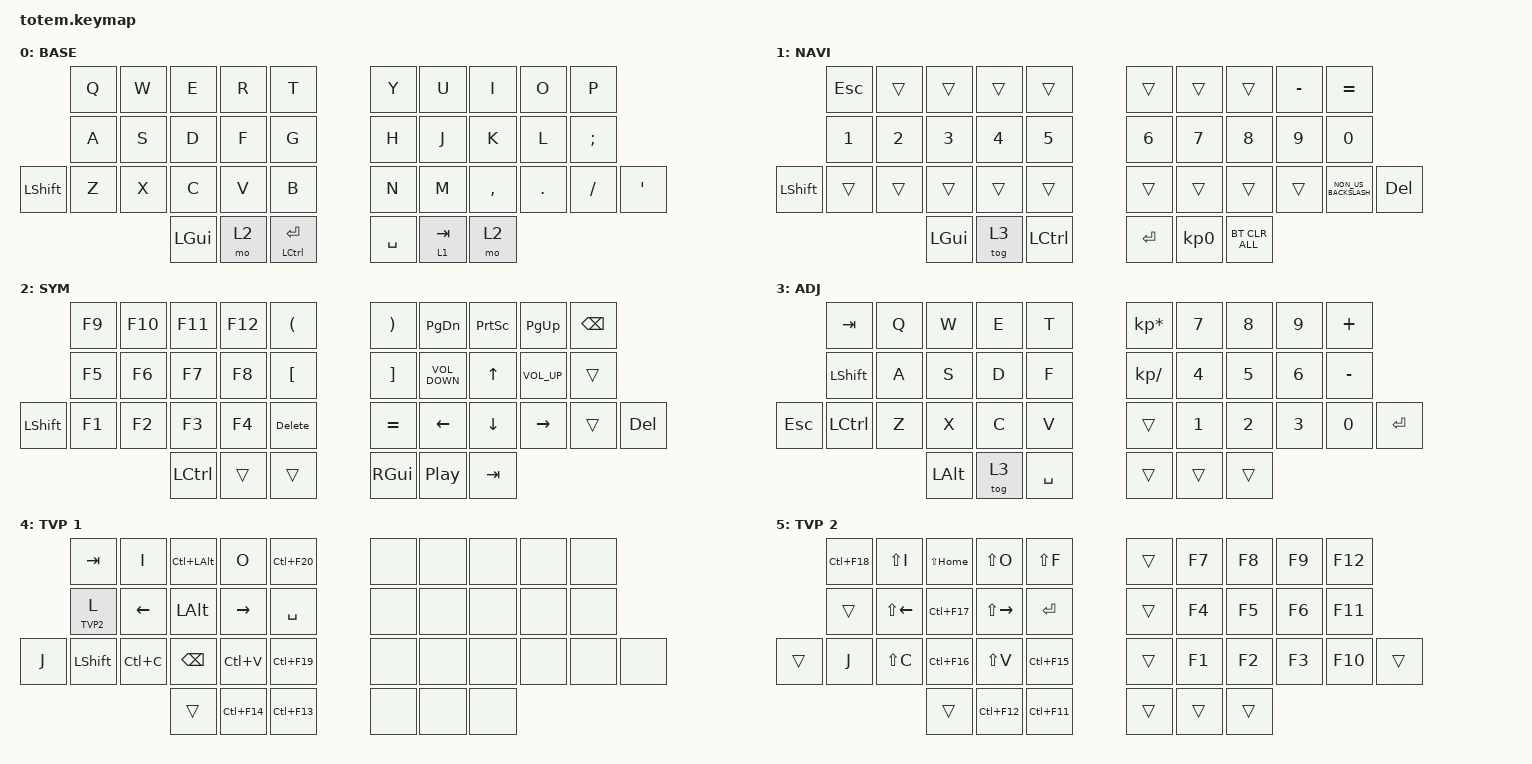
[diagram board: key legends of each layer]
//
//                                                        ▀▀▀▀▀     ▀▀▀▀▀          ▀▀█▀▀
//                                                        ▄▀▀▀▄  ▄  ▄▀▀▀▄  ▄  ▄▀▀▀▄  █  ▄▀▀▀▄
//                                                        █   █  █  █   █  █  █   █  █  █   █
//                                                         ▀▀▀   █   ▀▀▀   █   ▀▀▀   ▀   ▀▀▀
//                                                               █      ▄▄▄█▄▄▄    █   █  
//                                                               ▀      █  █  █     █▄█
//                                                             ▀▀▀▀▀    █  █  █      ▀
//                                                                      ▀  ▀  ▀
//
// ▄▄▄▄▄▄▄▄▄▄▄▄▄▄▄▄▄▄▄▄▄▄▄▄▄▄▄▄▄▄▄▄▄▄▄▄▄▄▄▄▄▄▄▄▄▄▄▄▄▄▄▄▄▄▄▄▄▄▄▄▄▄▄▄▄▄▄▄▄▄▄▄▄▄▄▄▄▄▄▄▄▄▄▄▄▄▄▄▄▄▄▄▄▄▄▄▄▄▄▄▄▄▄▄▄▄▄▄▄▄▄▄▄▄▄▄▄▄▄▄▄▄▄▄▄▄▄▄▄▄▄▄▄▄▄▄▄▄▄▄▄▄▄▄▄▄▄▄▄

#include <behaviors.dtsi>
#include <dt-bindings/zmk/bt.h>
#include <dt-bindings/zmk/keys.h>

#define BASE 0
#define NAV  1
#define SYM  2
#define ADJ  3
#define TVP1 4
#define TVP2 5

&mt {
    quick-tap-ms = <100>;
    global-quick-tap;
    flavor = "tap-preferred";
    tapping-term-ms = <170>;
};

/ {
    combos {
        compatible = "zmk,combos";

        combo_esc {
            timeout-ms = <50>;
            key-positions = <0 1>;
            bindings = <&kp ESC>;
        };

        combo_tvp {
            timeout-ms = <100>;
            key-positions = <11 12 13>;
            bindings = <&tog TVP1>;
        };
    };

    macros {
        Delete: Delete {
            compatible = "zmk,behavior-macro";
            #binding-cells = <0>;
            bindings = <&none>;
            label = "DELETE";
        };
    };

    keymap {
        compatible = "zmk,keymap";

        // ▄▄▄▄▄▄▄▄▄▄▄▄▄▄▄▄▄▄▄▄▄▄▄▄▄▄▄▄▄▄▄▄▄▄▄▄▄▄▄▄▄▄▄▄▄▄▄▄▄▄▄▄▄▄▄▄▄▄▄▄▄▄▄▄▄▄▄▄▄▄▄▄▄▄▄▄▄▄▄▄▄▄▄▄▄▄▄▄▄▄▄▄▄▄▄▄▄▄▄▄▄▄▄▄▄▄▄▄▄▄▄▄▄▄▄▄▄▄▄▄▄▄▄▄▄▄▄▄▄▄▄▄▄▄▄▄▄▄▄▄▄▄▄▄▄▄▄▄▄

        Base_Layer {
            // ┏━━━━━━━━━━━━━━━━━━━━━━━━━━━━━━━━━━━━━━━┓

            label = "BASE";

            // ┗━━━━━━━━━━━━━━━━━━━━━━━━━━━━━━━━━━━━━━━┛
            //             ┏━━━━━━━━━━━┳━━━━━━━━━━━┳━━━━━━━━━━━┳━━━━━━━━━━━┳━━━━━━━━━━━┓   ┏━━━━━━━━━━━┳━━━━━━━━━━━┳━━━━━━━━━━━┳━━━━━━━━━━━┳━━━━━━━━━━━┓
            //             ┃     Q     ┃     W     ┃     F     ┃     P     ┃     G     ┃   ┃     J     ┃     L     ┃     U     ┃     Y     ┃     ;     ┃
            //             ┣━━━━━━━━━━━╋━━━━━━━━━━━╋━━━━━━━━━━━╋━━━━━━━━━━━╋━━━━━━━━━━━┫   ┣━━━━━━━━━━━╋━━━━━━━━━━━╋━━━━━━━━━━━╋━━━━━━━━━━━╋━━━━━━━━━━━┫
            //             ┃     A     ┃     R     ┃     S     ┃     T     ┃     D     ┃   ┃     H     ┃     N     ┃     E     ┃     I     ┃     O     ┃
            // ┏━━━━━━━━━━━╋━━━━━━━━━━━╋━━━━━━━━━━━╋━━━━━━━━━━━╋━━━━━━━━━━━╋━━━━━━━━━━━┫   ┣━━━━━━━━━━━╋━━━━━━━━━━━╋━━━━━━━━━━━╋━━━━━━━━━━━╋━━━━━━━━━━━╋━━━━━━━━━━━┓
            // ┃     Q     ┃     Z     ┃     X     ┃     C     ┃     V     ┃     B     ┃   ┃     K     ┃     M     ┃     ,     ┃     .     ┃     /     ┃     \     ┃
            // ┗━━━━━━━━━━━┻━━━━━━━━━━━┻━━━━━━━━━━━╋━━━━━━━━━━━╋━━━━━━━━━━━╋━━━━━━━━━━━┫   ┣━━━━━━━━━━━╋━━━━━━━━━━━╋━━━━━━━━━━━╋━━━━━━━━━━━┻━━━━━━━━━━━┻━━━━━━━━━━━┛
            //                                     ┃    DEL    ┃    TAB    ┃    SPC    ┃   ┃   ENTER   ┃           ┃   BSPC    ┃
            //                                     ┗━━━━━━━━━━━┻━━━━━━━━━━━┻━━━━━━━━━━━┛   ┗━━━━━━━━━━━┻━━━━━━━━━━━┻━━━━━━━━━━━┛

            bindings = <
                &kp Q  &kp W  &kp E         &kp R  &kp T                     &kp Y      &kp U      &kp I      &kp O    &kp P
                &kp A  &kp S  &kp D         &kp F  &kp G                     &kp H      &kp J      &kp K      &kp L    &kp SEMICOLON
&kp LEFT_SHIFT  &kp Z  &kp X  &kp C         &kp V  &kp B                     &kp N      &kp M      &kp COMMA  &kp DOT  &kp FSLH       &kp SQT
                              &kp LEFT_GUI  &mo 2  &mt LEFT_CONTROL ENTER    &kp SPACE  &lt 1 TAB  &mo 2
            >;
        };

        // ▄▄▄▄▄▄▄▄▄▄▄▄▄▄▄▄▄▄▄▄▄▄▄▄▄▄▄▄▄▄▄▄▄▄▄▄▄▄▄▄▄▄▄▄▄▄▄▄▄▄▄▄▄▄▄▄▄▄▄▄▄▄▄▄▄▄▄▄▄▄▄▄▄▄▄▄▄▄▄▄▄▄▄▄▄▄▄▄▄▄▄▄▄▄▄▄▄▄▄▄▄▄▄▄▄▄▄▄▄▄▄▄▄▄▄▄▄▄▄▄▄▄▄▄▄▄▄▄▄▄▄▄▄▄▄▄▄▄▄▄▄▄▄▄▄▄▄▄▄

        Number_Layer {
            // ┏━━━━━━━━━━━━━━━━━━━━━━━━━━━━━━━━━━━━━━━┓

            label = "NAVI";

            // ┗━━━━━━━━━━━━━━━━━━━━━━━━━━━━━━━━━━━━━━━┛
            //             ┏━━━━━━━━━━━┳━━━━━━━━━━━┳━━━━━━━━━━━┳━━━━━━━━━━━┳━━━━━━━━━━━┓   ┏━━━━━━━━━━━┳━━━━━━━━━━━┳━━━━━━━━━━━┳━━━━━━━━━━━┳━━━━━━━━━━━┓
            //             ┃           ┃           ┃     UP    ┃           ┃     {     ┃   ┃     }     ┃     7     ┃     8     ┃     9     ┃     +     ┃
            //             ┣━━━━━━━━━━━╋━━━━━━━━━━━╋━━━━━━━━━━━╋━━━━━━━━━━━╋━━━━━━━━━━━┫   ┣━━━━━━━━━━━╋━━━━━━━━━━━╋━━━━━━━━━━━╋━━━━━━━━━━━╋━━━━━━━━━━━┫
            //             ┃   SHIFT   ┃   LEFT    ┃    DOWN   ┃   RIGHT   ┃     [     ┃   ┃     ]     ┃     4     ┃     5     ┃     6     ┃     -     ┃
            // ┏━━━━━━━━━━━╋━━━━━━━━━━━╋━━━━━━━━━━━╋━━━━━━━━━━━╋━━━━━━━━━━━╋━━━━━━━━━━━┫   ┣━━━━━━━━━━━╋━━━━━━━━━━━╋━━━━━━━━━━━╋━━━━━━━━━━━╋━━━━━━━━━━━╋━━━━━━━━━━━┓
            // ┃           ┃           ┃   P UP    ┃  C LOCK   ┃  P DOWN   ┃     (     ┃   ┃     )     ┃     1     ┃     2     ┃     3     ┃     *     ┃           ┃
            // ┗━━━━━━━━━━━┻━━━━━━━━━━━┻━━━━━━━━━━━╋━━━━━━━━━━━╋━━━━━━━━━━━╋━━━━━━━━━━━┫   ┣━━━━━━━━━━━╋━━━━━━━━━━━╋━━━━━━━━━━━╋━━━━━━━━━━━┻━━━━━━━━━━━┻━━━━━━━━━━━┛
            //                                     ┃           ┃    TAB    ┃    SPC    ┃   ┃    DEL    ┃     0     ┃           ┃
            //                                     ┗━━━━━━━━━━━┻━━━━━━━━━━━┻━━━━━━━━━━━┛   ┗━━━━━━━━━━━┻━━━━━━━━━━━┻━━━━━━━━━━━┛

            bindings = <
                &kp ESC       &trans        &trans        &trans        &trans              &trans        &trans     &trans          &kp MINUS  &kp EQUAL
                &kp NUMBER_1  &kp NUMBER_2  &kp NUMBER_3  &kp NUMBER_4  &kp N5              &kp NUMBER_6  &kp N7     &kp N8          &kp N9     &kp N0
&kp LEFT_SHIFT  &trans        &trans        &trans        &trans        &trans              &trans        &trans     &trans          &trans     &kp NON_US_BACKSLASH  &kp DEL
                                            &kp LEFT_GUI  &tog 3        &kp LEFT_CONTROL    &kp ENTER     &kp KP_N0  &bt BT_CLR_ALL
            >;
        };

        // ▄▄▄▄▄▄▄▄▄▄▄▄▄▄▄▄▄▄▄▄▄▄▄▄▄▄▄▄▄▄▄▄▄▄▄▄▄▄▄▄▄▄▄▄▄▄▄▄▄▄▄▄▄▄▄▄▄▄▄▄▄▄▄▄▄▄▄▄▄▄▄▄▄▄▄▄▄▄▄▄▄▄▄▄▄▄▄▄▄▄▄▄▄▄▄▄▄▄▄▄▄▄▄▄▄▄▄▄▄▄▄▄▄▄▄▄▄▄▄▄▄▄▄▄▄▄▄▄▄▄▄▄▄▄▄▄▄▄▄▄▄▄▄▄▄▄▄▄▄

        Function_Layer {
            // ┏━━━━━━━━━━━━━━━━━━━━━━━━━━━━━━━━━━━━━━━┓

            label = "SYM";

            // ┗━━━━━━━━━━━━━━━━━━━━━━━━━━━━━━━━━━━━━━━┛
            //             ┏━━━━━━━━━━━┳━━━━━━━━━━━┳━━━━━━━━━━━┳━━━━━━━━━━━┳━━━━━━━━━━━┓   ┏━━━━━━━━━━━┳━━━━━━━━━━━┳━━━━━━━━━━━┳━━━━━━━━━━━┳━━━━━━━━━━━┓
            //             ┃     !     ┃     @     ┃     #     ┃     $     ┃     %     ┃   ┃     ˆ     ┃     &     ┃     Ü     ┃     '     ┃     "     ┃
            //             ┣━━━━━━━━━━━╋━━━━━━━━━━━╋━━━━━━━━━━━╋━━━━━━━━━━━╋━━━━━━━━━━━┫   ┣━━━━━━━━━━━╋━━━━━━━━━━━╋━━━━━━━━━━━╋━━━━━━━━━━━╋━━━━━━━━━━━┫
            //             ┃     Ä     ┃           ┃    SZ     ┃           ┃           ┃   ┃   MUTE    ┃   YEN     ┃   EURO    ┃  POUND    ┃     Ö     ┃
            // ┏━━━━━━━━━━━╋━━━━━━━━━━━╋━━━━━━━━━━━╋━━━━━━━━━━━╋━━━━━━━━━━━╋━━━━━━━━━━━┫   ┣━━━━━━━━━━━╋━━━━━━━━━━━╋━━━━━━━━━━━╋━━━━━━━━━━━╋━━━━━━━━━━━╋━━━━━━━━━━━┓
            // ┃           ┃  EMAIL1   ┃  EMAIL2   ┃           ┃           ┃           ┃   ┃   VOL-    ┃   VOL+    ┃   LAST    ┃   NEXT    ┃     \     ┃           ┃
            // ┗━━━━━━━━━━━┻━━━━━━━━━━━┻━━━━━━━━━━━╋━━━━━━━━━━━╋━━━━━━━━━━━╋━━━━━━━━━━━┫   ┣━━━━━━━━━━━╋━━━━━━━━━━━╋━━━━━━━━━━━╋━━━━━━━━━━━┻━━━━━━━━━━━┻━━━━━━━━━━━┛
            //                                     ┃           ┃    GIF    ┃    ADJ    ┃   ┃           ┃           ┃           ┃
            //                                     ┗━━━━━━━━━━━┻━━━━━━━━━━━┻━━━━━━━━━━━┛   ┗━━━━━━━━━━━┻━━━━━━━━━━━┻━━━━━━━━━━━┛

            bindings = <
                &kp F9  &kp F10  &kp F11           &kp F12  &kp LEFT_PARENTHESIS    &kp RIGHT_PARENTHESIS  &kp PAGE_DOWN      &kp PRINTSCREEN  &kp PAGE_UP      &kp BACKSPACE
                &kp F5  &kp F6   &kp F7            &kp F8   &kp LEFT_BRACKET        &kp RIGHT_BRACKET      &kp K_VOLUME_DOWN  &kp UP_ARROW     &kp K_VOLUME_UP  &trans
&kp LEFT_SHIFT  &kp F1  &kp F2   &kp F3            &kp F4   &Delete                 &kp EQUAL              &kp LEFT           &kp DOWN         &kp RIGHT        &trans         &kp DELETE
                                 &kp LEFT_CONTROL  &trans   &trans                  &kp RGUI               &kp C_PP           &kp TAB
            >;
        };

        // ▄▄▄▄▄▄▄▄▄▄▄▄▄▄▄▄▄▄▄▄▄▄▄▄▄▄▄▄▄▄▄▄▄▄▄▄▄▄▄▄▄▄▄▄▄▄▄▄▄▄▄▄▄▄▄▄▄▄▄▄▄▄▄▄▄▄▄▄▄▄▄▄▄▄▄▄▄▄▄▄▄▄▄▄▄▄▄▄▄▄▄▄▄▄▄▄▄▄▄▄▄▄▄▄▄▄▄▄▄▄▄▄▄▄▄▄▄▄▄▄▄▄▄▄▄▄▄▄▄▄▄▄▄▄▄▄▄▄▄▄▄▄▄▄▄▄▄▄▄

        Gaming_Layer {
            // ┏━━━━━━━━━━━━━━━━━━━━━━━━━━━━━━━━━━━━━━━┓

            label = "ADJ";

            // ┗━━━━━━━━━━━━━━━━━━━━━━━━━━━━━━━━━━━━━━━┛
            //             ┏━━━━━━━━━━━┳━━━━━━━━━━━┳━━━━━━━━━━━┳━━━━━━━━━━━┳━━━━━━━━━━━┓   ┏━━━━━━━━━━━┳━━━━━━━━━━━┳━━━━━━━━━━━┳━━━━━━━━━━━┳━━━━━━━━━━━┓
            //             ┃   RESET   ┃ BT CLEAR  ┃  OUT TOG  ┃           ┃           ┃   ┃           ┃    F7     ┃    F8     ┃    F9     ┃    F12    ┃
            //             ┣━━━━━━━━━━━╋━━━━━━━━━━━╋━━━━━━━━━━━╋━━━━━━━━━━━╋━━━━━━━━━━━┫   ┣━━━━━━━━━━━╋━━━━━━━━━━━╋━━━━━━━━━━━╋━━━━━━━━━━━╋━━━━━━━━━━━┫
            //             ┃ BOOTLOAD  ┃ BT NEXT   ┃           ┃           ┃           ┃   ┃           ┃    F4     ┃    F5     ┃    F6     ┃    F11    ┃
            // ┏━━━━━━━━━━━╋━━━━━━━━━━━╋━━━━━━━━━━━╋━━━━━━━━━━━╋━━━━━━━━━━━╋━━━━━━━━━━━┫   ┣━━━━━━━━━━━╋━━━━━━━━━━━╋━━━━━━━━━━━╋━━━━━━━━━━━╋━━━━━━━━━━━╋━━━━━━━━━━━┓
            // ┃           ┃           ┃ BT PREV   ┃           ┃           ┃           ┃   ┃           ┃    F1     ┃    F2     ┃    F3     ┃    F10    ┃           ┃
            // ┗━━━━━━━━━━━┻━━━━━━━━━━━┻━━━━━━━━━━━╋━━━━━━━━━━━╋━━━━━━━━━━━╋━━━━━━━━━━━┫   ┣━━━━━━━━━━━╋━━━━━━━━━━━╋━━━━━━━━━━━╋━━━━━━━━━━━┻━━━━━━━━━━━┻━━━━━━━━━━━┛
            //                                     ┃           ┃           ┃           ┃   ┃           ┃           ┃           ┃
            //                                     ┗━━━━━━━━━━━┻━━━━━━━━━━━┻━━━━━━━━━━━┛   ┗━━━━━━━━━━━┻━━━━━━━━━━━┻━━━━━━━━━━━┛

            bindings = <
            &kp TAB           &kp Q  &kp W         &kp E   &kp T        &kp KP_MULTIPLY  &kp N7        &kp N8        &kp N9        &kp PLUS
            &kp LEFT_SHIFT    &kp A  &kp S         &kp D   &kp F        &kp KP_DIVIDE    &kp NUMBER_4  &kp NUMBER_5  &kp NUMBER_6  &kp MINUS
&kp ESCAPE  &kp LEFT_CONTROL  &kp Z  &kp X         &kp C   &kp V        &trans           &kp NUMBER_1  &kp NUMBER_2  &kp NUMBER_3  &kp N0     &kp ENTER
                                     &kp LEFT_ALT  &tog 3  &kp SPACE    &trans           &trans        &trans
            >;
        };

        // ▄▄▄▄▄▄▄▄▄▄▄▄▄▄▄▄▄▄▄▄▄▄▄▄▄▄▄▄▄▄▄▄▄▄▄▄▄▄▄▄▄▄▄▄▄▄▄▄▄▄▄▄▄▄▄▄▄▄▄▄▄▄▄▄▄▄▄▄▄▄▄▄▄▄▄▄▄▄▄▄▄▄▄▄▄▄▄▄▄▄▄▄▄▄▄▄▄▄▄▄▄▄▄▄▄▄▄▄▄▄▄▄▄▄▄▄▄▄▄▄▄▄▄▄▄▄▄▄▄▄▄▄▄▄▄▄▄▄▄▄▄▄▄▄▄▄▄▄▄

        tvp1_layer {
            // ┏━━━━━━━━━━━━━━━━━━━━━━━━━━━━━━━━━━━━━━━┓

            label = "TVP 1";

            // ┗━━━━━━━━━━━━━━━━━━━━━━━━━━━━━━━━━━━━━━━┛
            //             ┏━━━━━━━━━━━┳━━━━━━━━━━━┳━━━━━━━━━━━┳━━━━━━━━━━━┳━━━━━━━━━━━┓   ┏━━━━━━━━━━━┳━━━━━━━━━━━┳━━━━━━━━━━━┳━━━━━━━━━━━┳━━━━━━━━━━━┓
            //             ┃ NEXT FILE ┃ MARK IN   ┃ ROTATE    ┃ MARK OUT  ┃ SHOW SNAP ┃   ┃           ┃           ┃           ┃           ┃           ┃
            //             ┣━━━━━━━━━━━╋━━━━━━━━━━━╋━━━━━━━━━━━╋━━━━━━━━━━━╋━━━━━━━━━━━┫   ┣━━━━━━━━━━━╋━━━━━━━━━━━╋━━━━━━━━━━━╋━━━━━━━━━━━╋━━━━━━━━━━━┫
            //             ┃ TVP II    ┃ LEFT      ┃ PAN       ┃ RIGHT     ┃ PLAY/FLIP ┃   ┃           ┃           ┃           ┃           ┃           ┃
            // ┏━━━━━━━━━━━╋━━━━━━━━━━━╋━━━━━━━━━━━╋━━━━━━━━━━━╋━━━━━━━━━━━╋━━━━━━━━━━━┫   ┣━━━━━━━━━━━╋━━━━━━━━━━━╋━━━━━━━━━━━╋━━━━━━━━━━━╋━━━━━━━━━━━╋━━━━━━━━━━━┓
            // ┃ FULLSCR   ┃ SHIFT     ┃ COPY      ┃ DELETE    ┃ PASTE     ┃ IMG MARK  ┃   ┃           ┃           ┃           ┃           ┃           ┃           ┃
            // ┗━━━━━━━━━━━┻━━━━━━━━━━━┻━━━━━━━━━━━╋━━━━━━━━━━━╋━━━━━━━━━━━╋━━━━━━━━━━━┫   ┣━━━━━━━━━━━╋━━━━━━━━━━━╋━━━━━━━━━━━╋━━━━━━━━━━━┻━━━━━━━━━━━┻━━━━━━━━━━━┛
            //                                     ┃           ┃ UNDO/SAVE ┃  SEL/MOV  ┃   ┃           ┃           ┃           ┃
            //                                     ┗━━━━━━━━━━━┻━━━━━━━━━━━┻━━━━━━━━━━━┛   ┗━━━━━━━━━━━┻━━━━━━━━━━━┻━━━━━━━━━━━┛

            bindings = <
       &kp TAB     &kp I      &kp LC(LALT)  &kp O        &kp LC(F20)    &none  &none  &none  &none  &none
       &lt TVP2 L  &kp LEFT   &kp LALT      &kp RIGHT    &kp SPACE      &none  &none  &none  &none  &none
&kp J  &kp LSHFT   &kp LC(C)  &kp BSPC      &kp LC(V)    &kp LC(F19)    &none  &none  &none  &none  &none  &none
                              &trans        &kp LC(F14)  &kp LC(F13)    &none  &none  &none
            >;
        };

        // ▄▄▄▄▄▄▄▄▄▄▄▄▄▄▄▄▄▄▄▄▄▄▄▄▄▄▄▄▄▄▄▄▄▄▄▄▄▄▄▄▄▄▄▄▄▄▄▄▄▄▄▄▄▄▄▄▄▄▄▄▄▄▄▄▄▄▄▄▄▄▄▄▄▄▄▄▄▄▄▄▄▄▄▄▄▄▄▄▄▄▄▄▄▄▄▄▄▄▄▄▄▄▄▄▄▄▄▄▄▄▄▄▄▄▄▄▄▄▄▄▄▄▄▄▄▄▄▄▄▄▄▄▄▄▄▄▄▄▄▄▄▄▄▄▄▄▄▄▄

        tvp2_layer {
            // ┏━━━━━━━━━━━━━━━━━━━━━━━━━━━━━━━━━━━━━━━┓

            label = "TVP 2";

            // ┗━━━━━━━━━━━━━━━━━━━━━━━━━━━━━━━━━━━━━━━┛
            //             ┏━━━━━━━━━━━┳━━━━━━━━━━━┳━━━━━━━━━━━┳━━━━━━━━━━━┳━━━━━━━━━━━┓   ┏━━━━━━━━━━━┳━━━━━━━━━━━┳━━━━━━━━━━━┳━━━━━━━━━━━┳━━━━━━━━━━━┓
            //             ┃ SOLO      ┃ TOGGLE IN ┃ RESET ROT ┃ TOGGLE OUT┃ TAKE SNAP ┃   ┃           ┃           ┃           ┃           ┃           ┃
            //             ┣━━━━━━━━━━━╋━━━━━━━━━━━╋━━━━━━━━━━━╋━━━━━━━━━━━╋━━━━━━━━━━━┫   ┣━━━━━━━━━━━╋━━━━━━━━━━━╋━━━━━━━━━━━╋━━━━━━━━━━━╋━━━━━━━━━━━┫
            //             ┃ ---       ┃ LAST KEY  ┃ NEW KEY   ┃ NEXT KEY  ┃ ENTER     ┃   ┃           ┃           ┃           ┃           ┃           ┃
            // ┏━━━━━━━━━━━╋━━━━━━━━━━━╋━━━━━━━━━━━╋━━━━━━━━━━━╋━━━━━━━━━━━╋━━━━━━━━━━━┫   ┣━━━━━━━━━━━╋━━━━━━━━━━━╋━━━━━━━━━━━╋━━━━━━━━━━━╋━━━━━━━━━━━╋━━━━━━━━━━━┓
            // ┃           ┃ FULLSCR   ┃ CPY2BRUSH ┃ DEL HEAD  ┃ PSTinPLACE┃ BOOK MARK ┃   ┃           ┃           ┃           ┃           ┃           ┃           ┃
            // ┗━━━━━━━━━━━┻━━━━━━━━━━━┻━━━━━━━━━━━╋━━━━━━━━━━━╋━━━━━━━━━━━╋━━━━━━━━━━━┫   ┣━━━━━━━━━━━╋━━━━━━━━━━━╋━━━━━━━━━━━╋━━━━━━━━━━━┻━━━━━━━━━━━┻━━━━━━━━━━━┛
            //                                     ┃           ┃ REDO/SAV1 ┃TRANS/WARP ┃   ┃           ┃           ┃           ┃
            //                                     ┗━━━━━━━━━━━┻━━━━━━━━━━━┻━━━━━━━━━━━┛   ┗━━━━━━━━━━━┻━━━━━━━━━━━┻━━━━━━━━━━━┛

            bindings = <
        &kp LC(F18)  &kp LS(I)     &kp LS(HOME)  &kp LS(O)      &kp LS(F)      &trans  &kp F7  &kp F8  &kp F9  &kp F12
        &trans       &kp LS(LEFT)  &kp LC(F17)   &kp LS(RIGHT)  &kp RET        &trans  &kp F4  &kp F5  &kp F6  &kp F11
&trans  &kp J        &kp LS(C)     &kp LC(F16)   &kp LS(V)      &kp LC(F15)    &trans  &kp F1  &kp F2  &kp F3  &kp F10  &trans
                                   &trans        &kp LC(F12)    &kp LC(F11)    &trans  &trans  &trans
            >;
        };
    };
};
